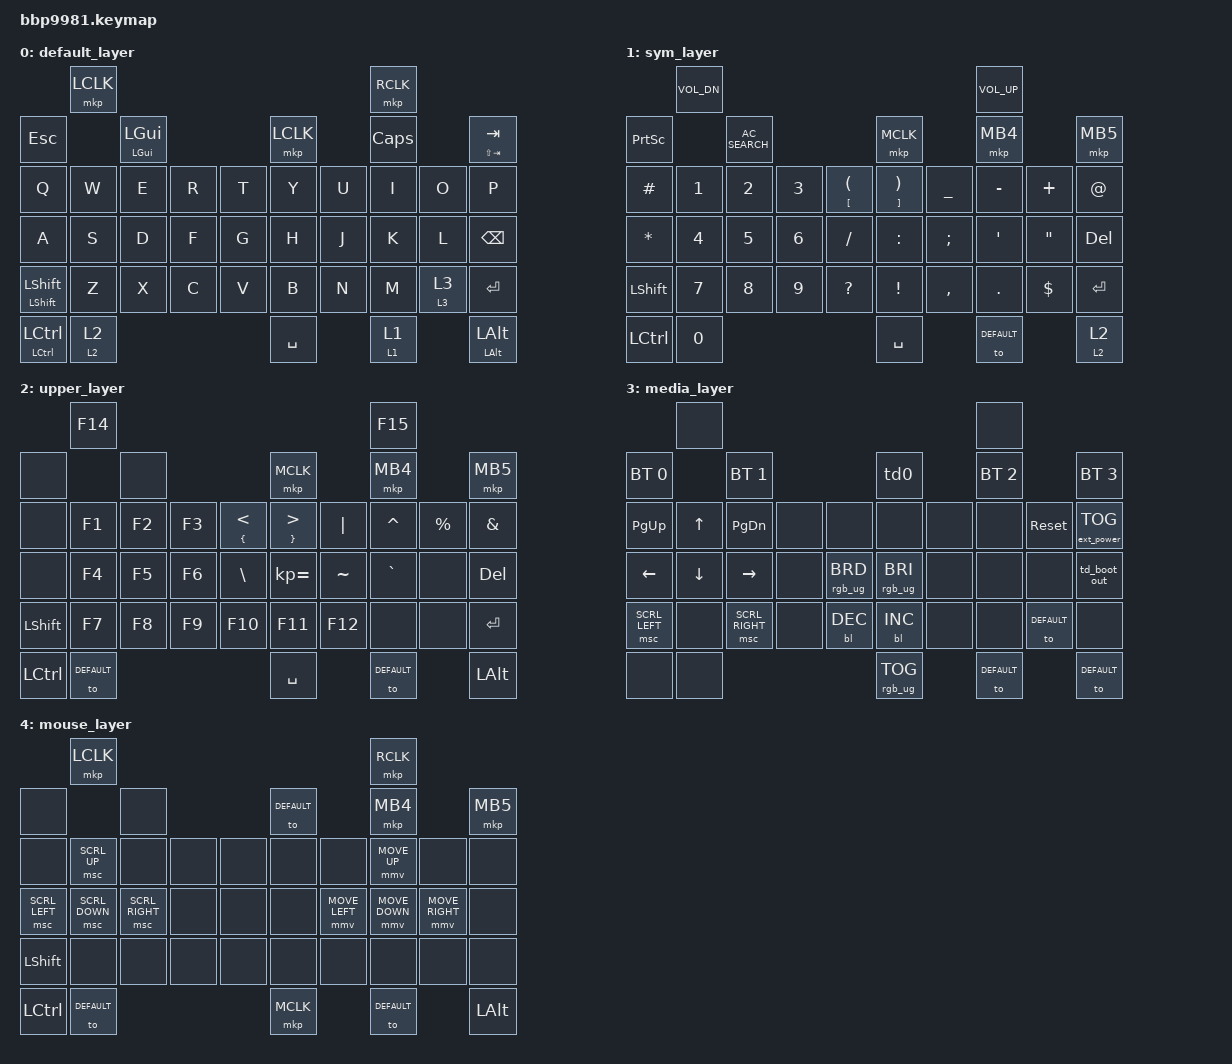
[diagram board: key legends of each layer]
/*
 * Copyright (c) 2025 ZitaoTech
 *
 * SPDX-License-Identifier: MIT
 */

#include <behaviors.dtsi>
#include <dt-bindings/zmk/keys.h>
#include <dt-bindings/zmk/bt.h>
#include <dt-bindings/zmk/outputs.h>
#include <dt-bindings/zmk/mouse.h>
#include <dt-bindings/zmk/backlight.h>
#include <dt-bindings/zmk/ext_power.h>
#include <dt-bindings/zmk/rgb.h>

#define DEFAULT 0
#define SYM 1
#define UPPER 2
#define MEDIA 3
#define MOUSE 4

#define SL_MO(layer) &sl_mo layer layer //tap -> sticky layer, hold -> momentary layer

&sl {
    release-after-ms = <3000>;
    };

/ {
    macros {
        single_kp: single_kp {
            compatible = "zmk,behavior-macro-one-param";
            #binding-cells = <1>;
            wait-ms = <0>;
            tap-ms = <0>;
            bindings = <&macro_param_1to1 &kp MACRO_PLACEHOLDER>;
        };
    };

    behaviors {
        ht_once: hold_tap_once {
            compatible = "zmk,behavior-hold-tap";
            #binding-cells = <2>;
            flavor = "hold-preferred";
            tapping-term-ms = <450>;
            quick-tap-ms = <0>;
            bindings = <&single_kp>, <&single_kp>;
        };
    };

    behaviors {
        td0: tap_dance_0 {
            compatible = "zmk,behavior-tap-dance";
            #binding-cells = <0>;
            tapping-term-ms = <400>;
            bindings = <&none>, <&bt BT_CLR>;
        };
    };

    behaviors {
        td_boot_out: td_boot_out {
            compatible = "zmk,behavior-tap-dance";
            #binding-cells = <0>;
            tapping-term-ms = <400>;           
            bindings = <&bootloader>, <&out OUT_TOG>;
        };
    };

    behaviors {
        tdc_to_SYM: td_comma_to_layer {
            compatible = "zmk,behavior-tap-dance";
            #binding-cells = <0>;
            tapping-term-ms = <400>;
            bindings = <&kp SEMI>, <&to SYM>;
        };
    };

    behaviors {
        tdc_to_MEDIA: td_mute_to_layer {
            compatible = "zmk,behavior-tap-dance";
            #binding-cells = <0>;
            tapping-term-ms = <400>;
            bindings = <&kp C_MUTE>, <&to MEDIA>;
        };
    };

    behaviors {
        hm: homerow_mods {
            compatible = "zmk,behavior-hold-tap";
            #binding-cells = <2>;
            tapping-term-ms = <400>;
            bindings = <&kp &kp>;
        };
    };
    
    behaviors {
    sl_mo: behavior_sl_mo {
        compatible = "zmk,behavior-hold-tap";
        #binding-cells = <2>;
        flavor = "hold-preferred";      /* 单击优先 */
        tapping-term-ms = <450>;       /* 长按阈值 */
        bindings = <&mo &sl>;          /* hold=MO, tap=SL */
        };
    };

    behaviors {
    sk_kp: behavior_sk_kp {
        compatible = "zmk,behavior-hold-tap";
        #binding-cells = <2>;
        flavor = "hold-preferred";      
        tapping-term-ms = <450>;       
        bindings = <&kp &sk>;          /* hold=kp, tap=sticky key */
        };
    };

    behaviors {
        bhm: balanced_homerow_mods {
            compatible = "zmk,behavior-hold-tap";
            #binding-cells = <2>;
            flavor = "balanced";
            tapping-term-ms = <400>;
            bindings = <&kp>, <&kp>;
        };
    };

// ------------------------------------------------------------------------------------------------------------------------------------------------
// |    Shoulder Key1      |                                                                                       |    Shoulder Key2             |
// |         Call key      |     Blackberry Key    |           Trackpad           |             Back Key           |         Endcall Key          |
// |     Q      |     W    |     E     |     R     |      T      |       Y        |       U        |       I       |       O      |      P        |
// |     A      |     S    |     D     |     F     |      G      |       H        |       J        |       K       |       L      |      ←        |
// |     alt    |     Z    |     X     |     C     |      V      |       B        |       N        |       M       |       $      |    Enter      |
// |            |     aA   |     0     |                          SPACE                            |       SYM     |       aA     |               |
// |----------------------------------------------------------------------------------------------------------------------------------------------|

    keymap {
        compatible = "zmk,keymap";

        default_layer {

            bindings = <
                          &mkp LCLK                                                                   &mkp RCLK
    &kp ESC                              &sk_kp LGUI LGUI                     &mkp LCLK               &kp CLCK                          &ht_once LS(TAB) TAB
    &kp Q                 &kp W          &kp E             &kp R     &kp T    &kp Y          &kp U    &kp I            &kp O            &kp P
    &kp A                 &kp S          &kp D             &kp F     &kp G    &kp H          &kp J    &kp K            &kp L            &kp BSPC
    &sk_kp LSHFT LSHFT    &kp Z          &kp X             &kp C     &kp V    &kp B          &kp N    &kp M            &sl_mo 3 3       &kp ENTER
    &sk_kp LCTRL LCTRL    &sl_mo 2 2                                          &kp SPACE               &sl_mo 1 1                        &sk_kp LALT LALT
            >;
        };


        sym_layer {

            bindings = <        
                 &kp C_VOL_DN                                                                                         &kp C_VOL_UP
    &kp PSCRN               &kp C_AC_SEARCH                       &mkp MCLK                          &mkp MB4                          &mkp MB5
    &kp HASH     &kp N1     &kp N2      &kp N3    &mt LBKT LPAR   &mt RBKT RPAR     &kp UNDER        &kp MINUS        &kp PLUS         &kp AT
    &kp STAR     &kp N4     &kp N5      &kp N6    &kp SLASH       &kp COLON         &kp SEMI         &kp APOS         &kp DQT          &kp DEL
    &kp LSHFT    &kp N7     &kp N8      &kp N9    &kp QMARK       &kp EXCL          &kp COMMA        &kp DOT          &kp DLLR         &kp ENTER
    &kp LCTRL               &kp N0                                &kp SPACE                          &to DEFAULT                       &sl_mo 2 2
            >;
        };

        upper_layer {

            bindings = <
                   &kp F14                                                                       &kp F15
    &none          &none                                           &mkp MCLK                     &mkp MB4                    &mkp MB5
    &none          &kp F1     &kp F2          &kp F3  &mt LBRC LT  &mt RBRC GT      &kp PIPE     &kp CARET       &kp PRCNT   &kp AMPS
    &none          &kp F4     &kp F5          &kp F6  &kp BSLH     &kp KP_EQUAL     &kp TILDE    &kp GRAVE       &none       &kp DEL
    &kp LSHFT      &kp F7     &kp F8          &kp F9  &kp F10      &kp F11          &kp F12      &none           &none       &kp ENTER
    &kp LCTRL                 &to DEFAULT                          &kp  SPACE                    &to DEFAULT                 &kp LALT
            >;
        };

        media_layer {

            bindings = <
                      &none                                                                           &none
    &bt BT_SEL 0                &bt BT_SEL 1                                &td0                      &bt BT_SEL 2                    &bt BT_SEL 3
    &kp PG_UP         &kp UP    &kp PG_DN         &none    &none            &none             &none   &none           &sys_reset      &ext_power  EP_TOG
    &kp LEFT          &kp DOWN  &kp RIGHT         &none    &rgb_ug RGB_BRD  &rgb_ug RGB_BRI   &none   &none           &none           &td_boot_out
    &msc SCRL_LEFT    &none     &msc SCRL_RIGHT   &none    &bl BL_DEC       &bl BL_INC        &none   &none           &to DEFAULT     &none
    &none                       &none                                       &rgb_ug RGB_TOG           &to DEFAULT                     &to DEFAULT
            >;
        };

        mouse_layer {

            bindings = <
                    &mkp LCLK                                                                     &mkp RCLK
    &none                            &none                    &to DEFAULT                         &mkp MB4                          &mkp MB5
    &none           &msc SCRL_UP     &none             &none  &none        &none  &none           &mmv MOVE_UP    &none             &none
    &msc SCRL_LEFT  &msc SCRL_DOWN   &msc SCRL_RIGHT   &none  &none        &none  &mmv MOVE_LEFT  &mmv MOVE_DOWN  &mmv MOVE_RIGHT   &none
    &kp LSHFT       &none            &none             &none  &none        &none  &none           &none           &none             &none
    &kp LCTRL                        &to DEFAULT              &mkp MCLK                           &to DEFAULT                       &kp LALT
            >;
        };
    };
};
